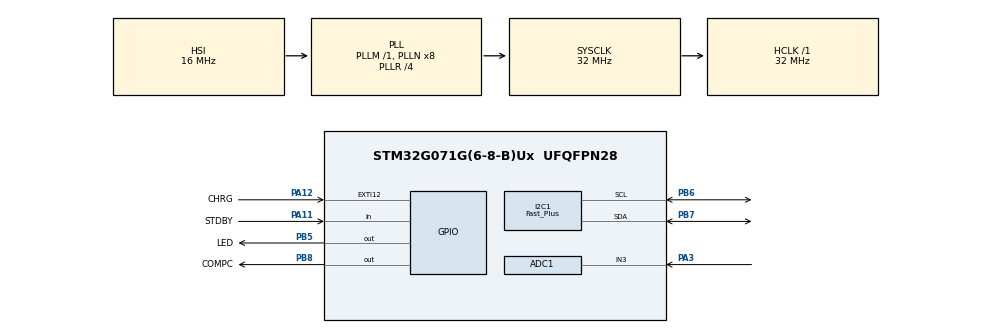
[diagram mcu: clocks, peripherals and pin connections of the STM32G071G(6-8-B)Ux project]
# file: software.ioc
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ADC1.Channel-7\#ChannelRegularConversion=ADC_CHANNEL_3
ADC1.ClockPrescaler=ADC_CLOCK_ASYNC_DIV1
ADC1.NbrOfConversionFlag=1
ADC1.Rank-7\#ChannelRegularConversion=1
ADC1.SamplingTime-7\#ChannelRegularConversion=ADC_SAMPLINGTIME_COMMON_1
ADC1.SamplingTimeCommon1=ADC_SAMPLETIME_160CYCLES_5
ADC1.SamplingTimeCommon2=ADC_SAMPLETIME_160CYCLES_5
ADC1.SelectedChannel=ADC_CHANNEL_3
ADC1.master=1
I2C1.I2C_Speed_Mode=I2C_Fast_Plus
I2C1.Timing=0x0040040C
Mcu.Family=STM32G0
Mcu.Name=STM32G071G(6-8-B)Ux
Mcu.Package=UFQFPN28
NVIC.EXTI4_15_IRQn=true\:0\:0\:false\:false\:true\:true\:true\:true
NVIC.TIM2_IRQn=true\:0\:0\:false\:false\:true\:true\:true\:true
PA11\ [PA9].GPIO_Label=STDBY
PA11\ [PA9].GPIO_PuPd=GPIO_PULLUP
PA11\ [PA9].Signal=GPIO_Input
PA12\ [PA10].GPIO_Label=CHRG
PA12\ [PA10].GPIO_ModeDefaultEXTI=GPIO_MODE_IT_FALLING
PA12\ [PA10].GPIO_PuPd=GPIO_PULLUP
PA12\ [PA10].Signal=GPXTI12
PA13.Mode=Serial_Wire
PA13.Signal=SYS_SWDIO
PA14-BOOT0.Mode=Serial_Wire
PA14-BOOT0.Signal=SYS_SWCLK
PA3.Mode=IN3
PA3.Signal=ADC1_IN3
PB5.GPIO_Label=LED
PB5.PinState=GPIO_PIN_SET
PB5.Signal=GPIO_Output
PB6.Mode=I2C
PB6.Signal=I2C1_SCL
PB7.Mode=I2C
PB7.Signal=I2C1_SDA
PB8.GPIO_Label=COMPC
PB8.PinState=GPIO_PIN_SET
PB8.Signal=GPIO_Output
ProjectManager.HeapSize=0x200
ProjectManager.StackSize=0x400
ProjectManager.TargetToolchain=STM32CubeIDE
RCC.ADCFreq_Value=32000000
RCC.AHBFreq_Value=32000000
RCC.CortexFreq_Value=32000000
RCC.EXTERNAL_CLOCK_VALUE=48000
RCC.HCLKFreq_Value=32000000
RCC.HSE_VALUE=8000000
RCC.HSI_VALUE=16000000
RCC.LSE_VALUE=32768
RCC.PLLP=RCC_PLLP_DIV16
RCC.PLLR=RCC_PLLR_DIV4
RCC.SYSCLKFreq_VALUE=32000000
RCC.SYSCLKSource=RCC_SYSCLKSOURCE_PLLCLK
RCC.VCOOutputFreq_Value=128000000
TIM2.Period=39
TIM2.Prescaler=31999
VP_TIM2_VS_ClockSourceINT.Mode=Internal
board=custom

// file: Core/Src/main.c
/* USER CODE BEGIN Header */
/**
  ******************************************************************************
  * @file           : main.c
  * @brief          : Main program body
  ******************************************************************************
  * @attention
  *
  * Copyright (c) 2024 STMicroelectronics.
  * All rights reserved.
  *
  * This software is licensed under terms that can be found in the LICENSE file
  * in the root directory of this software component.
  * If no LICENSE file comes with this software, it is provided AS-IS.
  *
  ******************************************************************************
  */
/* USER CODE END Header */
#include "main.h"

/* USER CODE BEGIN Includes */
#include "ssd1316.h"
#include "anime.h"

/* USER CODE END Includes */

ADC_HandleTypeDef hadc1;

I2C_HandleTypeDef hi2c1;

TIM_HandleTypeDef htim2;

/* USER CODE BEGIN PV */
/*低电量警告画面*/
static uint8_t Low_Power[] = {
  // '通行证灯牌_NO_PWR', 128x32px
  0x00, 0x00, 0x00, 0x00, 0x00, 0x00, 0x00, 0x00, 0x00, 0x00, 0x00, 0x00, 0x00, 0x00, 0xf0, 0xf0,
  0xf0, 0xf0, 0xc0, 0xc0, 0x00, 0x00, 0x00, 0x00, 0x00, 0x00, 0x00, 0x00, 0x00, 0x00, 0x00, 0x00,
  0xc0, 0xc0, 0xf0, 0xf0, 0xf0, 0xf0, 0x00, 0x00, 0x00, 0x00, 0x00, 0x00, 0x00, 0x00, 0x00, 0x00,
  0x00, 0x00, 0x00, 0x00, 0x00, 0x00, 0x00, 0x00, 0x00, 0x00, 0x00, 0x00, 0x00, 0x00, 0x00, 0x00,
  0x00, 0x00, 0x00, 0x00, 0x00, 0x00, 0x00, 0x00, 0x00, 0x00, 0x00, 0x00, 0x00, 0x00, 0x00, 0x00,
  0x00, 0x00, 0x00, 0x00, 0x00, 0x00, 0x00, 0x00, 0x00, 0x00, 0x00, 0x00, 0x00, 0x00, 0x00, 0x00,
  0x00, 0x00, 0x00, 0x00, 0x00, 0x00, 0x00, 0x00, 0x00, 0x00, 0x00, 0x00, 0x00, 0x00, 0x00, 0x00,
  0x00, 0x00, 0x00, 0x00, 0x00, 0x00, 0x00, 0x00, 0x00, 0x00, 0x00, 0x00, 0x00, 0x00, 0x00, 0x00,
  0x00, 0x00, 0x00, 0x00, 0x00, 0x00, 0x00, 0x00, 0x00, 0x00, 0x00, 0x00, 0xf0, 0xf0, 0xff, 0xff,
  0xff, 0xbf, 0x7f, 0xff, 0x7f, 0xbf, 0xfe, 0xfe, 0xfe, 0xfe, 0xfe, 0xfe, 0xfe, 0xfe, 0xbf, 0x7f,
  0xff, 0x7f, 0xbf, 0xff, 0xff, 0xff, 0xf0, 0xf0, 0x00, 0x00, 0x00, 0x00, 0x00, 0x00, 0x00, 0x00,
  0x00, 0x00, 0xfe, 0xfe, 0x60, 0x60, 0x80, 0x80, 0x00, 0x00, 0xfe, 0xfe, 0x00, 0x00, 0xf8, 0xf8,
  0x06, 0x06, 0x06, 0x06, 0x06, 0x06, 0xf8, 0xf8, 0x00, 0x00, 0x00, 0x00, 0x00, 0x00, 0x00, 0x00,
  0x00, 0x00, 0x00, 0x00, 0xfe, 0xfe, 0x86, 0x86, 0x86, 0x86, 0x86, 0x86, 0x78, 0x78, 0x00, 0x00,
  0xfe, 0xfe, 0x00, 0x00, 0x80, 0x80, 0x00, 0x00, 0xfe, 0xfe, 0x00, 0x00, 0xfe, 0xfe, 0x86, 0x86,
  0x86, 0x86, 0x86, 0x86, 0x78, 0x78, 0x00, 0x00, 0x00, 0x00, 0x00, 0x00, 0x00, 0x00, 0x00, 0x00,
  0x00, 0x00, 0x00, 0x00, 0x00, 0x00, 0x00, 0x00, 0x00, 0x00, 0x00, 0x00, 0xff, 0xff, 0xff, 0xff,
  0xff, 0xfb, 0xfd, 0xfe, 0xfd, 0xbb, 0xbf, 0xbf, 0xbf, 0xbf, 0x3f, 0xbf, 0xbf, 0x3f, 0xbb, 0xfd,
  0xfe, 0xfd, 0xfb, 0xff, 0xff, 0xff, 0xff, 0xff, 0x00, 0x00, 0x00, 0x00, 0x00, 0x00, 0x00, 0x00,
  0x00, 0x00, 0x7f, 0x7f, 0x00, 0x00, 0x01, 0x01, 0x06, 0x06, 0x7f, 0x7f, 0x00, 0x00, 0x1f, 0x1f,
  0x60, 0x60, 0x60, 0x60, 0x60, 0x60, 0x1f, 0x1f, 0x00, 0x00, 0x00, 0x00, 0x00, 0x00, 0x00, 0x00,
  0x00, 0x00, 0x00, 0x00, 0x7f, 0x7f, 0x01, 0x01, 0x01, 0x01, 0x01, 0x01, 0x00, 0x00, 0x00, 0x00,
  0x1f, 0x1f, 0x60, 0x60, 0x1f, 0x1f, 0x60, 0x60, 0x1f, 0x1f, 0x00, 0x00, 0x7f, 0x7f, 0x01, 0x01,
  0x07, 0x07, 0x19, 0x19, 0x60, 0x60, 0x00, 0x00, 0x00, 0x00, 0x00, 0x00, 0x00, 0x00, 0x00, 0x00,
  0x00, 0x00, 0x00, 0x00, 0x00, 0x00, 0x00, 0x00, 0x00, 0x00, 0x00, 0x00, 0x00, 0x00, 0x07, 0x07,
  0x1f, 0x1f, 0x1f, 0x1f, 0x1f, 0x1f, 0x1f, 0x1f, 0x1f, 0x1f, 0x1c, 0x1b, 0x1b, 0x1c, 0x1f, 0x1f,
  0x1f, 0x1f, 0x1f, 0x1f, 0x07, 0x07, 0x00, 0x00, 0x00, 0x00, 0x00, 0x00, 0x00, 0x00, 0x00, 0x00,
  0x00, 0x00, 0x00, 0x00, 0x00, 0x00, 0x00, 0x00, 0x00, 0x00, 0x00, 0x00, 0x00, 0x00, 0x00, 0x00,
  0x00, 0x00, 0x00, 0x00, 0x00, 0x00, 0x00, 0x00, 0x00, 0x00, 0x00, 0x00, 0x00, 0x00, 0x00, 0x00,
  0x00, 0x00, 0x00, 0x00, 0x00, 0x00, 0x00, 0x00, 0x00, 0x00, 0x00, 0x00, 0x00, 0x00, 0x00, 0x00,
  0x00, 0x00, 0x00, 0x00, 0x00, 0x00, 0x00, 0x00, 0x00, 0x00, 0x00, 0x00, 0x00, 0x00, 0x00, 0x00,
  0x00, 0x00, 0x00, 0x00, 0x00, 0x00, 0x00, 0x00, 0x00, 0x00, 0x00, 0x00, 0x00, 0x00, 0x00, 0x00
};
uint16_t ADC_Value = 4000;          //ADC读取值（12bit Vref = +3.3V）
uint8_t Charging_Mode = 0;          //充电模式标志
uint8_t Low_Power_Mode = 0;         //低电量模式标志
uint8_t Display_OFF_CNT = 250;      //低电量警告画面显示时间（ms）
uint16_t Anime_Current_Frame = 0;   //动画帧计数
/* USER CODE END PV */

void SystemClock_Config(void);
static void MX_GPIO_Init(void);
static void MX_I2C1_Init(void);
static void MX_ADC1_Init(void);
static void MX_TIM2_Init(void);
/* USER CODE BEGIN PFP */
uint16_t Get_ADC(void);
/* USER CODE END PFP */

int main(void)
{

  /* MCU Configuration--------------------------------------------------------*/

  /* Reset of all peripherals, Initializes the Flash interface and the Systick. */
  HAL_Init();

  /* Configure the system clock */
  SystemClock_Config();

  /* Initialize all configured peripherals */
  MX_GPIO_Init();
  MX_I2C1_Init();
  MX_ADC1_Init();
  MX_TIM2_Init();
  /* USER CODE BEGIN 2 */
  HAL_Delay(100);                   //等待外设上电
  SSD1316_Init();                   //初始化SSD1316
  SSD1316_Refresh();
  HAL_TIM_Base_Start_IT(&htim2);    //使能刷屏&电压检测计时器
  /* USER CODE END 2 */

  /* Infinite loop */
  /* USER CODE BEGIN WHILE */
  while (1)
  {
    /*退出充电模式*/
    if (HAL_GPIO_ReadPin(STDBY_GPIO_Port, STDBY_Pin) == GPIO_PIN_RESET
        || (HAL_GPIO_ReadPin(CHRG_GPIO_Port, CHRG_Pin) == GPIO_PIN_SET && !Low_Power_Mode)) {
      Charging_Mode = 0;
      HAL_GPIO_WritePin(LED_GPIO_Port, LED_Pin, GPIO_PIN_SET);
    }
    /*进入充电模式，闪烁LED*/
    if (Charging_Mode) {
      HAL_GPIO_TogglePin(LED_GPIO_Port, LED_Pin);
      HAL_Delay(1000);
      continue;
    }
    /*电压不足3V,进入低电量模式*/
    if (ADC_Value <= 2000) {
      /*低电量警告*/
      if(!Low_Power_Mode) {
        Low_Power_Mode = 1;
        HAL_GPIO_WritePin(LED_GPIO_Port, LED_Pin, GPIO_PIN_RESET);
        HAL_I2C_Mem_Write(&hi2c1, SSD1316_ADDR_WRITE, 0x40, 1, Low_Power, sizeof(Low_Power), SSD1316_I2C_TIMEOUT);
      }
      /*警告完毕，关闭外设，进入停止0模式*/
      if (Display_OFF_CNT == 0) {
        SSD1316_Display_OFF();
        HAL_TIM_Base_Stop_IT(&htim2);
        HAL_PWR_EnterSTOPMode(PWR_MAINREGULATOR_ON, PWR_STOPENTRY_WFI);
      }
      continue;
    }
    /* USER CODE END WHILE */

  }
}

void SystemClock_Config(void)
{
  RCC_OscInitTypeDef RCC_OscInitStruct = {0};
  RCC_ClkInitTypeDef RCC_ClkInitStruct = {0};

  /** Configure the main internal regulator output voltage
  */
  HAL_PWREx_ControlVoltageScaling(PWR_REGULATOR_VOLTAGE_SCALE1);

  /** Initializes the RCC Oscillators according to the specified parameters
  * in the RCC_OscInitTypeDef structure.
  */
  RCC_OscInitStruct.OscillatorType = RCC_OSCILLATORTYPE_HSI;
  RCC_OscInitStruct.HSIState = RCC_HSI_ON;
  RCC_OscInitStruct.HSIDiv = RCC_HSI_DIV1;
  RCC_OscInitStruct.HSICalibrationValue = RCC_HSICALIBRATION_DEFAULT;
  RCC_OscInitStruct.PLL.PLLState = RCC_PLL_ON;
  RCC_OscInitStruct.PLL.PLLSource = RCC_PLLSOURCE_HSI;
  RCC_OscInitStruct.PLL.PLLM = RCC_PLLM_DIV1;
  RCC_OscInitStruct.PLL.PLLN = 8;
  RCC_OscInitStruct.PLL.PLLP = RCC_PLLP_DIV16;
  RCC_OscInitStruct.PLL.PLLQ = RCC_PLLQ_DIV2;
  RCC_OscInitStruct.PLL.PLLR = RCC_PLLR_DIV4;
  if (HAL_RCC_OscConfig(&RCC_OscInitStruct) != HAL_OK)
  {
    Error_Handler();
  }

  /** Initializes the CPU, AHB and APB buses clocks
  */
  RCC_ClkInitStruct.ClockType = RCC_CLOCKTYPE_HCLK|RCC_CLOCKTYPE_SYSCLK
                              |RCC_CLOCKTYPE_PCLK1;
  RCC_ClkInitStruct.SYSCLKSource = RCC_SYSCLKSOURCE_PLLCLK;
  RCC_ClkInitStruct.AHBCLKDivider = RCC_SYSCLK_DIV1;
  RCC_ClkInitStruct.APB1CLKDivider = RCC_HCLK_DIV1;

  if (HAL_RCC_ClockConfig(&RCC_ClkInitStruct, FLASH_LATENCY_1) != HAL_OK)
  {
    Error_Handler();
  }
}

static void MX_ADC1_Init(void)
{

  ADC_ChannelConfTypeDef sConfig = {0};

  /** Configure the global features of the ADC (Clock, Resolution, Data Alignment and number of conversion)
  */
  hadc1.Instance = ADC1;
  hadc1.Init.ClockPrescaler = ADC_CLOCK_ASYNC_DIV1;
  hadc1.Init.Resolution = ADC_RESOLUTION_12B;
  hadc1.Init.DataAlign = ADC_DATAALIGN_RIGHT;
  hadc1.Init.ScanConvMode = ADC_SCAN_DISABLE;
  hadc1.Init.EOCSelection = ADC_EOC_SINGLE_CONV;
  hadc1.Init.LowPowerAutoWait = DISABLE;
  hadc1.Init.LowPowerAutoPowerOff = DISABLE;
  hadc1.Init.ContinuousConvMode = DISABLE;
  hadc1.Init.NbrOfConversion = 1;
  hadc1.Init.DiscontinuousConvMode = DISABLE;
  hadc1.Init.ExternalTrigConv = ADC_SOFTWARE_START;
  hadc1.Init.ExternalTrigConvEdge = ADC_EXTERNALTRIGCONVEDGE_NONE;
  hadc1.Init.DMAContinuousRequests = DISABLE;
  hadc1.Init.Overrun = ADC_OVR_DATA_PRESERVED;
  hadc1.Init.SamplingTimeCommon1 = ADC_SAMPLETIME_160CYCLES_5;
  hadc1.Init.SamplingTimeCommon2 = ADC_SAMPLETIME_160CYCLES_5;
  hadc1.Init.OversamplingMode = DISABLE;
  hadc1.Init.TriggerFrequencyMode = ADC_TRIGGER_FREQ_HIGH;
  if (HAL_ADC_Init(&hadc1) != HAL_OK)
  {
    Error_Handler();
  }

  /** Configure Regular Channel
  */
  sConfig.Channel = ADC_CHANNEL_3;
  sConfig.Rank = ADC_REGULAR_RANK_1;
  sConfig.SamplingTime = ADC_SAMPLINGTIME_COMMON_1;
  if (HAL_ADC_ConfigChannel(&hadc1, &sConfig) != HAL_OK)
  {
    Error_Handler();
  }

}

static void MX_I2C1_Init(void)
{

  hi2c1.Instance = I2C1;
  hi2c1.Init.Timing = 0x0040040C;
  hi2c1.Init.OwnAddress1 = 0;
  hi2c1.Init.AddressingMode = I2C_ADDRESSINGMODE_7BIT;
  hi2c1.Init.DualAddressMode = I2C_DUALADDRESS_DISABLE;
  hi2c1.Init.OwnAddress2 = 0;
  hi2c1.Init.OwnAddress2Masks = I2C_OA2_NOMASK;
  hi2c1.Init.GeneralCallMode = I2C_GENERALCALL_DISABLE;
  hi2c1.Init.NoStretchMode = I2C_NOSTRETCH_DISABLE;
  if (HAL_I2C_Init(&hi2c1) != HAL_OK)
  {
    Error_Handler();
  }

  /** Configure Analogue filter
  */
  if (HAL_I2CEx_ConfigAnalogFilter(&hi2c1, I2C_ANALOGFILTER_ENABLE) != HAL_OK)
  {
    Error_Handler();
  }

  /** Configure Digital filter
  */
  if (HAL_I2CEx_ConfigDigitalFilter(&hi2c1, 0) != HAL_OK)
  {
    Error_Handler();
  }

  /** I2C Fast mode Plus enable
  */
  HAL_I2CEx_EnableFastModePlus(I2C_FASTMODEPLUS_I2C1);

}

static void MX_TIM2_Init(void)
{

  TIM_ClockConfigTypeDef sClockSourceConfig = {0};
  TIM_MasterConfigTypeDef sMasterConfig = {0};

  htim2.Instance = TIM2;
  htim2.Init.Prescaler = 31999;
  htim2.Init.CounterMode = TIM_COUNTERMODE_UP;
  htim2.Init.Period = 39;
  htim2.Init.ClockDivision = TIM_CLOCKDIVISION_DIV1;
  htim2.Init.AutoReloadPreload = TIM_AUTORELOAD_PRELOAD_DISABLE;
  if (HAL_TIM_Base_Init(&htim2) != HAL_OK)
  {
    Error_Handler();
  }
  sClockSourceConfig.ClockSource = TIM_CLOCKSOURCE_INTERNAL;
  if (HAL_TIM_ConfigClockSource(&htim2, &sClockSourceConfig) != HAL_OK)
  {
    Error_Handler();
  }
  sMasterConfig.MasterOutputTrigger = TIM_TRGO_RESET;
  sMasterConfig.MasterSlaveMode = TIM_MASTERSLAVEMODE_DISABLE;
  if (HAL_TIMEx_MasterConfigSynchronization(&htim2, &sMasterConfig) != HAL_OK)
  {
    Error_Handler();
  }

}

static void MX_GPIO_Init(void)
{
  GPIO_InitTypeDef GPIO_InitStruct = {0};

  /* GPIO Ports Clock Enable */
  __HAL_RCC_GPIOA_CLK_ENABLE();
  __HAL_RCC_GPIOB_CLK_ENABLE();

  /*Configure GPIO pin Output Level */
  HAL_GPIO_WritePin(GPIOB, LED_Pin|COMPC_Pin, GPIO_PIN_SET);

  /*Configure GPIO pin : STDBY_Pin */
  GPIO_InitStruct.Pin = STDBY_Pin;
  GPIO_InitStruct.Mode = GPIO_MODE_INPUT;
  GPIO_InitStruct.Pull = GPIO_PULLUP;
  HAL_GPIO_Init(STDBY_GPIO_Port, &GPIO_InitStruct);

  /*Configure GPIO pin : CHRG_Pin */
  GPIO_InitStruct.Pin = CHRG_Pin;
  GPIO_InitStruct.Mode = GPIO_MODE_IT_FALLING;
  GPIO_InitStruct.Pull = GPIO_PULLUP;
  HAL_GPIO_Init(CHRG_GPIO_Port, &GPIO_InitStruct);

  /*Configure GPIO pins : LED_Pin COMPC_Pin */
  GPIO_InitStruct.Pin = LED_Pin|COMPC_Pin;
  GPIO_InitStruct.Mode = GPIO_MODE_OUTPUT_PP;
  GPIO_InitStruct.Pull = GPIO_NOPULL;
  GPIO_InitStruct.Speed = GPIO_SPEED_FREQ_LOW;
  HAL_GPIO_Init(GPIOB, &GPIO_InitStruct);

  /* EXTI interrupt init*/
  HAL_NVIC_SetPriority(EXTI4_15_IRQn, 0, 0);
  HAL_NVIC_EnableIRQ(EXTI4_15_IRQn);

}

/* USER CODE BEGIN 4 */
/*读取电池电压*/
uint16_t Get_ADC(void) {
  uint16_t Value = 0;
  HAL_ADC_Start(&hadc1);
  HAL_ADC_PollForConversion(&hadc1, 100);
  if (HAL_IS_BIT_SET(HAL_ADC_GetState(&hadc1), HAL_ADC_STATE_REG_EOC)){
      Value =  HAL_ADC_GetValue(&hadc1);
  }
  HAL_ADC_Stop(&hadc1);
  return Value;
}

void HAL_TIM_PeriodElapsedCallback(TIM_HandleTypeDef *htim)
{
  if (htim == &htim2) {
    /*低电量警告计时*/
    if(Low_Power_Mode) {
      --Display_OFF_CNT;
      return;
    }
    /*常规刷屏动画*/
    if (Anime_Current_Frame <= 8) SSD1316_Fill_Screen(BLACK);
    else if (Anime_Current_Frame <= 41) SSD1316_Draw_Pic(Cat_Head_Move + CAT_HEAD_MOVE_SIZE * (Anime_Current_Frame - 9), 12, 66);
    else if (Anime_Current_Frame <= 49) SSD1316_Draw_Pic(Cat_Head_Move + CAT_HEAD_MOVE_SIZE * 33, 12, 66);
    else if (Anime_Current_Frame <= 150) {
      SSD1316_Fill_Screen(BLACK);
      SSD1316_Draw_Pic(Cat_Head, 12, 28);
      if (((Anime_Current_Frame % 10 == 7
          ||Anime_Current_Frame % 10 == 8
          || Anime_Current_Frame % 10 == 9
          || Anime_Current_Frame % 10 == 0
          || Anime_Current_Frame % 10 == 1)
          && Anime_Current_Frame <= 86)
          || Anime_Current_Frame >= 87) SSD1316_Draw_Pic(Font, 45, 78);
    }
    else if (Anime_Current_Frame <= 162) SSD1316_Draw_Screen(Cat_Remove + SSD1316_SCREEN_SIZE * (Anime_Current_Frame - 151));
    else if (Anime_Current_Frame <= 166) SSD1316_Fill_Screen(BLACK);
    else if (Anime_Current_Frame <= 180) SSD1316_Draw_Screen(Halo_Move + SSD1316_SCREEN_SIZE *(Anime_Current_Frame - 167));
    else if (Anime_Current_Frame <= 280) SSD1316_Draw_Pic(Halo_Scroll + HALO_SCROLL_SIZE * ((Anime_Current_Frame - 181) % 25), 0, 42);
    else if (Anime_Current_Frame <= 281) SSD1316_Draw_Pic(Halo_Scroll + HALO_SCROLL_SIZE * 24, 0, 42);
    else if (Anime_Current_Frame <= 315) SSD1316_Draw_Screen(Halo_Remove + SSD1316_SCREEN_SIZE * (Anime_Current_Frame - 282));
    ++Anime_Current_Frame;
    /*重置动画进度，从头播放*/
    Anime_Current_Frame %= 316;
    SSD1316_Refresh();
    /*读取电池电压*/
    ADC_Value = Get_ADC();
  }
}

void HAL_GPIO_EXTI_Falling_Callback(uint16_t GPIO_Pin) {
  if (GPIO_Pin == CHRG_Pin) {
    /*恢复时钟配置*/
    SystemClock_Config();
    /*进入充电模式标志*/
    Charging_Mode = 1;
    /*清除低电量模式标志，重置警告计时*/
    Low_Power_Mode = 0;
    Display_OFF_CNT = 250;
    /*恢复刷屏*/
    SSD1316_Display_ON();
    HAL_TIM_Base_Start_IT(&htim2);
  }
}
/* USER CODE END 4 */

void Error_Handler(void)
{
  __disable_irq();
  while (1)
  {
  }
}
